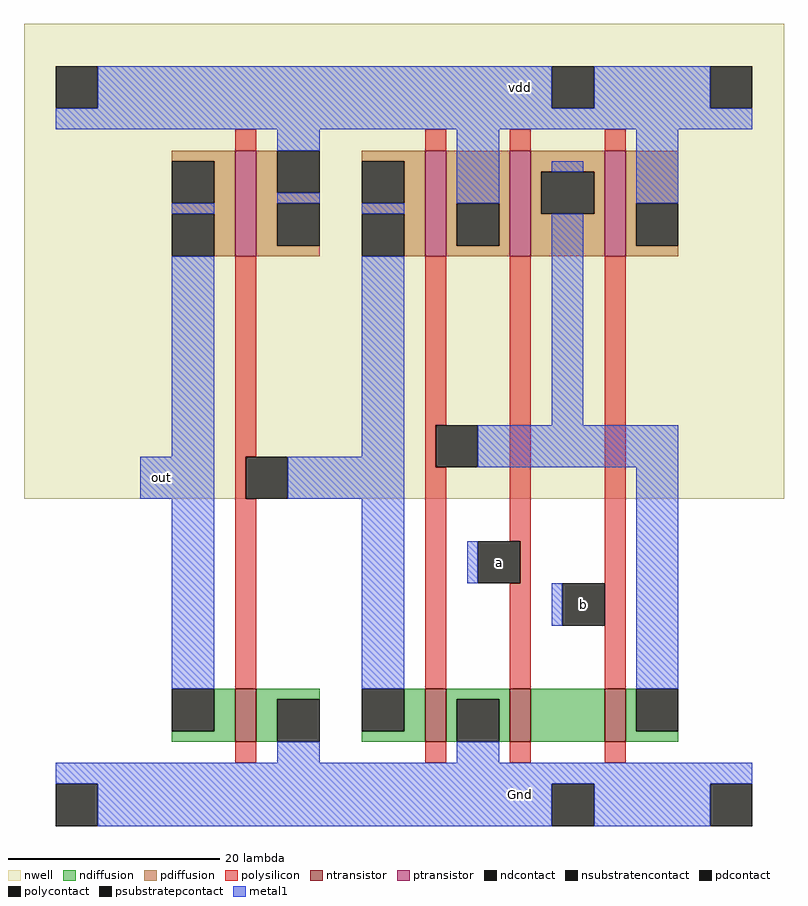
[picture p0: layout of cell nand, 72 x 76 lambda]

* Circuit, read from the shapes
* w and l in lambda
.subckt nand Gnd a b out vdd
M1 Gnd n1 out Gnd nfet w=5 l=2
M2 Gnd n2 n1 Gnd nfet w=5 l=2
M3 n3 a Gnd Gnd nfet w=5 l=2
M4 n2 b n3 Gnd nfet w=5 l=2
M5 vdd n1 out vdd pfet w=10 l=2
M6 vdd n2 n1 vdd pfet w=10 l=2
M7 n2 a vdd vdd pfet w=10 l=2
M8 vdd b n2 vdd pfet w=10 l=2
.ends

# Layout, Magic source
magic
tech min2
<< nwell >>
rect -44 24 28 69
<< ntransistor >>
rect -24 1 -22 6
rect -6 1 -4 6
rect 2 1 4 6
rect 11 1 13 6
<< ptransistor >>
rect -24 47 -22 57
rect -6 47 -4 57
rect 2 47 4 57
rect 11 47 13 57
<< ndiffusion >>
rect -26 2 -24 6
rect -30 1 -24 2
rect -22 5 -16 6
rect -22 1 -20 5
rect -8 2 -6 6
rect -12 1 -6 2
rect -4 5 2 6
rect -4 1 -3 5
rect 1 1 2 5
rect 4 1 11 6
rect 13 2 14 6
rect 13 1 18 2
<< pdiffusion >>
rect -30 56 -24 57
rect -26 52 -24 56
rect -30 51 -24 52
rect -26 47 -24 51
rect -22 53 -20 57
rect -22 52 -16 53
rect -22 48 -20 52
rect -22 47 -16 48
rect -12 56 -6 57
rect -8 52 -6 56
rect -12 51 -6 52
rect -8 47 -6 51
rect -4 52 2 57
rect -4 48 -3 52
rect 1 48 2 52
rect -4 47 2 48
rect 4 55 11 57
rect 4 51 5 55
rect 10 51 11 55
rect 4 47 11 51
rect 13 52 18 57
rect 13 48 14 52
rect 13 47 18 48
<< ndcontact >>
rect -30 2 -26 6
rect -20 1 -16 5
rect -12 2 -8 6
rect -3 1 1 5
rect 14 2 18 6
<< pdcontact >>
rect -30 52 -26 56
rect -30 47 -26 51
rect -20 53 -16 57
rect -20 48 -16 52
rect -12 52 -8 56
rect -12 47 -8 51
rect -3 48 1 52
rect 5 51 10 55
rect 14 48 18 52
<< psubstratepcontact >>
rect -41 -7 -37 -3
rect 6 -7 10 -3
rect 21 -7 25 -3
<< nsubstratencontact >>
rect -41 61 -37 65
rect 6 61 10 65
rect 21 61 25 65
<< polysilicon >>
rect -24 57 -22 59
rect -6 57 -4 59
rect 2 57 4 59
rect 11 57 13 59
rect -24 28 -22 47
rect -6 31 -4 47
rect -24 24 -23 28
rect -6 27 -5 31
rect -24 6 -22 24
rect -6 6 -4 27
rect 2 20 4 47
rect 3 16 4 20
rect 2 6 4 16
rect 11 6 13 47
rect -24 -1 -22 1
rect -6 -1 -4 1
rect 2 -1 4 1
rect 11 -1 13 1
<< polycontact >>
rect -23 24 -19 28
rect -5 27 -1 31
rect -1 16 3 20
rect 7 12 11 16
<< metal1 >>
rect -37 61 6 65
rect 10 61 21 65
rect -41 59 25 61
rect -20 57 -16 59
rect -30 51 -26 52
rect -20 52 -16 53
rect -12 51 -8 52
rect -30 28 -26 47
rect -3 52 1 59
rect 6 55 9 56
rect 14 52 18 59
rect -12 28 -8 47
rect 6 31 9 51
rect -33 24 -26 28
rect -19 24 -8 28
rect -1 27 18 31
rect -30 6 -26 24
rect -12 6 -8 24
rect -2 16 -1 20
rect 6 12 7 16
rect 14 6 18 27
rect -20 -1 -16 1
rect -3 -1 1 1
rect -41 -3 25 -1
rect -37 -7 6 -3
rect 10 -7 21 -3
<< labels >>
rlabel polycontact 9 14 9 14 1 b
rlabel metal1 3 -4 3 -4 1 Gnd
rlabel metal1 3 63 3 63 5 vdd
rlabel polycontact 1 18 1 18 1 a
rlabel metal1 -31 26 -31 26 1 out
<< end >>
